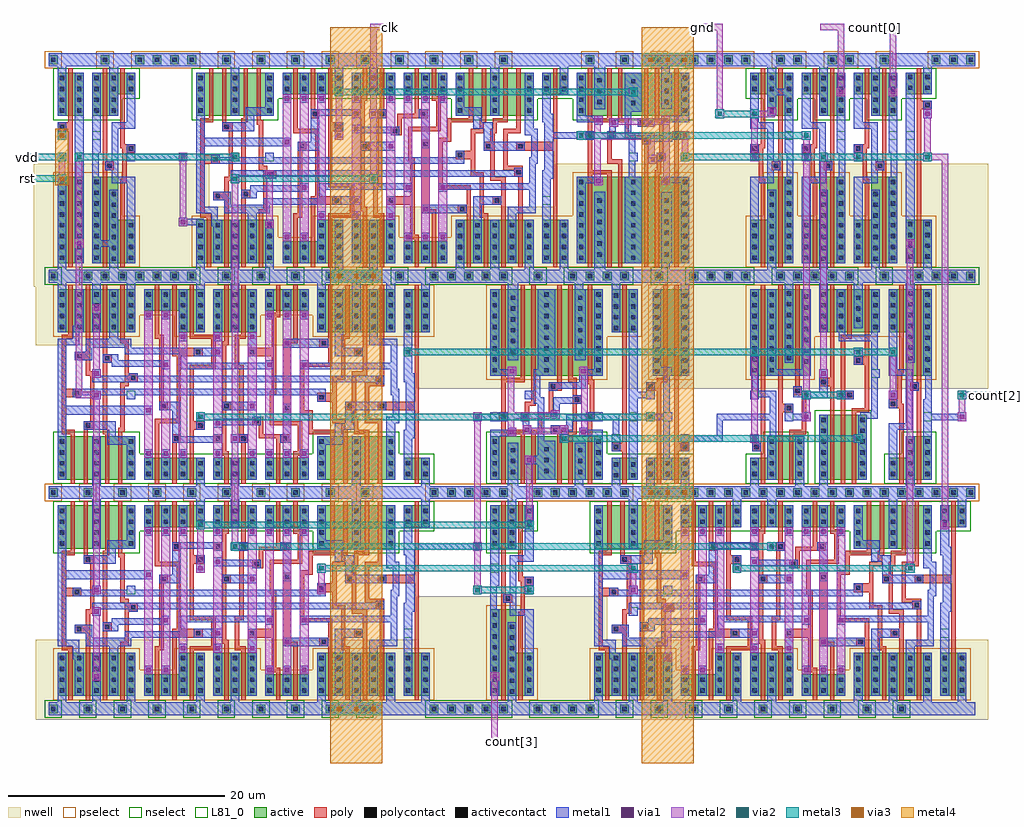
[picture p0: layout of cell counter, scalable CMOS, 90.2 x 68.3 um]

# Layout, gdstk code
from math import pi, radians
import gdstk
lib = gdstk.Library(unit=1e-6, precision=1e-09)
def R(c, l, rs):  # rectangles x0, y0, x1, y1
    for r in rs: c.add(gdstk.rectangle(r[:2], r[2:], *l))
def A(c, l, x, y, w, h, nx, ny, dx, dy):  # array of equal rectangles
    R(c, l, [(x+i*dx, y+j*dy, x+i*dx+w, y+j*dy+h) for i in range(nx) for j in range(ny)])
via3 = (30, 0)
metal4 = (31, 0)
nwell = (42, 0)
active = (43, 0)
pselect = (44, 0)
nselect = (45, 0)
poly = (46, 0)
polycontact = (47, 0)
activecontact = (48, 0)
metal1 = (49, 0)
via1 = (50, 0)
metal2 = (51, 0)
via2 = (61, 0)
metal3 = (62, 0)
L81_0 = (81, 0)

fill = lib.new_cell('FILL')
R(fill, nwell, [(-1.6,9.6,3.2,21)])
R(fill, active, [(-0.4,-0.4,0.4,0.4), (1.2,-0.4,2,0.4), (-0.4,19.6,0.4,20.4), (1.2,19.6,2,20.4)])
R(fill, pselect, [(-0.8,-0.8,2.4,0.8)])
R(fill, nselect, [(-0.8,19.2,2.4,20.8)])
R(fill, activecontact, [(-0.2,-0.2,0.2,0.2), (1.4,-0.2,1.8,0.2), (-0.2,19.8,0.2,20.2), (1.4,19.8,1.8,20.2)])
R(fill, metal1, [(-0.4,-0.6,2,0.6), (-0.4,19.4,2,20.6)])
fill.add(gdstk.Label('vdd', (0.8,20), layer=109, texttype=0))
fill.add(gdstk.Label('gnd', (0.8,0), layer=109, texttype=0))

dffsr = lib.new_cell('DFFSR')
R(dffsr, nwell, [(-1.6,13.6,36.8,21)])
A(dffsr, active, -0.4, -0.4, 0.8, 0.8, 10, 2, 3.2, 20)
R(dffsr, active, [(0.4,1.2,7.6,5.2), (8.4,1.2,14,3.2), (14.8,1.2,18.8,3.2), (19.6,1.2,23.6,3.2), (24.4,1.2,31.6,5.2), (32.4,1.2,34.8,3.2), (0.4,14.8,7.6,18.8), (11.6,14.8,14,16.8), (14.8,14.8,18.8,18.8), (24.4,14.8,31.6,18.8), (32.4,14.8,34.8,18.8), (8.4,16.8,14,18.8), (19.6,16.8,23.6,18.8)])
A(dffsr, pselect, -0.8, -0.8, 1.6, 1.6, 10, 1, 3.2, 0)
R(dffsr, pselect, [(0,14.4,8,16.4), (11.2,14.4,19.2,16.4), (24,14.4,35.2,16.4), (0,16.4,35.2,19.2)])
A(dffsr, nselect, -0.8, 19.2, 1.6, 1.6, 10, 1, 3.2, 0)
R(dffsr, nselect, [(0,0.8,35.2,3.6), (0,3.6,8,5.6), (24,3.6,32,5.6)])
R(dffsr, poly, [(1.6,0.8,2,5.4), (2.8,0.8,3.2,5.8), (4.8,0.8,5.2,5.4), (6,0.8,6.4,5.6), (9.4,0.8,9.8,6.4), (11,0.8,11.4,4.6), (12.6,0.8,13,5.8), (15.8,0.8,16.2,3.4), (17.4,0.8,17.8,4.6), (20.6,0.8,21,4.6), (22.2,0.8,22.6,3.4), (25.6,0.8,26,5.4), (26.8,0.8,27.2,5.4), (28.8,0.8,29.2,5.4), (30,0.8,30.4,6.4), (33.4,0.8,33.8,7.6), (15.6,3.4,16.2,3.8), (22.2,3.4,23,3.8), (15.6,3.8,16,4.6), (22.6,3.8,23,6.2), (11,4.6,11.8,5.4), (14.8,4.6,16,5.4), (17.2,4.6,18,5.4), (20.6,4.6,21.8,5), (19,5,21.8,5.4), (0.8,5.4,2,5.8), (4.6,5.4,5.2,5.8), (15.6,5.4,16,7.6), (17.2,5.4,17.6,11.4), (19,5.4,19.4,6.2), (23.6,5.4,26,5.8), (26.6,5.4,27.2,5.8), (27.8,5.4,29.2,5.8), (6,5.6,6.6,6), (0.8,5.8,1.2,8.8), (2.8,5.8,3.8,6.6), (4.6,5.8,5,12), (12.6,5.8,14,6.6), (23.6,5.8,24,7.2), (26.6,5.8,27,6.4), (27.8,5.8,28.2,6.4), (6.2,6,6.6,9.8), (18.4,6.2,19.4,7), (20,6.2,23,6.6), (9.4,6.4,11.8,6.8), (25.8,6.4,27,6.8), (27.6,6.4,28.2,6.8), (28.8,6.4,30.4,6.8), (3.4,6.6,3.8,10.8), (12.6,6.6,13,11.4), (20,6.6,20.4,9), (11.4,6.8,11.8,12.6), (25.8,6.8,26.2,8.4), (27.6,6.8,28,7.6), (28.8,6.8,29.2,9.8), (22.8,7.2,24,7.6), (21.2,7.4,22,13.8), (9.8,7.6,10.6,8.4), (15.6,7.6,16.4,8.4), (22.8,7.6,23.2,11.6), (27,7.6,28,8.4), (30,7.6,33.8,8.4), (9.8,8.4,10.2,14.2), (15.6,8.4,16,13.6), (24.4,8.4,26.2,9.2), (27.6,8.4,28,10.8), (33.4,8.4,33.8,19.2), (0.8,8.8,2.6,9.6), (20,9,20.6,9.4), (25.8,9.2,26.2,10.4), (20.2,9.4,20.6,12.6), (0.8,9.6,1.2,14.2), (6.2,9.8,7,10.2), (28.8,9.8,30.6,10.2), (6.6,10.2,7.8,11), (29.8,10.2,30.6,10.8), (25.8,10.4,27,10.8), (3,10.8,3.8,11.2), (26.6,10.8,27,14.2), (27.6,10.8,29,11.2), (30.2,10.8,30.6,19.2), (6.6,11,7,13.8), (3,11.2,3.4,12.2), (28.6,11.2,29,12.6), (12.6,11.4,15,11.8), (16.8,11.4,17.6,11.8), (22.8,11.6,25.8,12), (14.6,11.8,15,14.2), (16.8,11.8,17.2,14.2), (4.6,12,5.4,12.8), (25.4,12,25.8,13.4), (2,12.2,3.4,13), (11,12.6,13.8,13.4), (18,12.6,20.6,13.4), (27.8,12.6,29,13.4), (4.6,12.8,5,19.2), (3,13,3.4,19.2), (11,13.4,11.4,19.2), (20.2,13.4,20.6,16.2), (24.6,13.4,25.8,14.2), (28.6,13.4,29,19.2), (15.6,13.6,16.2,14), (6.2,13.8,7,14.2), (21.2,13.8,22.6,14.2), (15.8,14,16.2,19.2), (0.8,14.2,1.8,14.6), (6.2,14.2,6.6,19.2), (9.4,14.2,10.2,14.6), (12.6,14.2,15,14.6), (16.8,14.2,17.8,14.6), (22.2,14.2,22.6,19.2), (25.4,14.2,25.8,19.2), (26.6,14.2,27.4,14.6), (1.4,14.6,1.8,19.2), (9.4,14.6,9.8,19.2), (12.6,14.6,13,19.2), (17.4,14.6,17.8,19.2), (27,14.6,27.4,19.2), (20.2,16.2,21,16.6), (20.6,16.6,21,19.2)])
R(dffsr, polycontact, [(11.2,4.8,11.6,5.2), (15,4.8,15.4,5.2), (17.4,4.8,17.8,5.2), (21.2,4.8,21.6,5.2), (3,6,3.4,6.4), (13.4,6,13.8,6.4), (18.6,6.4,19,6.8), (21.4,7.6,21.8,8), (10,7.8,10.4,8.2), (15.8,7.8,16.2,8.2), (27.2,7.8,27.6,8.2), (30.2,7.8,30.6,8.2), (24.6,8.6,25,9), (2,9,2.4,9.4), (30,10.2,30.4,10.6), (7.2,10.4,7.6,10.8), (4.8,12.2,5.2,12.6), (2.2,12.4,2.6,12.8), (13.2,12.8,13.6,13.2), (18.2,12.8,18.6,13.2), (28,12.8,28.4,13.2), (24.8,13.6,25.2,14)])
A(dffsr, activecontact, -0.2, -0.2, 0.4, 0.4, 10, 2, 3.2, 20)
A(dffsr, activecontact, 0.6, 1.5, 0.4, 0.4, 3, 4, 3.2, 1)
A(dffsr, activecontact, 8.6, 1.5, 0.4, 0.4, 11, 2, 1.6, 1)
A(dffsr, activecontact, 31, 1.5, 0.4, 0.4, 3, 2, 1.6, 1)
A(dffsr, activecontact, 24.6, 3.5, 0.4, 0.4, 3, 2, 3.2, 1)
A(dffsr, activecontact, 0.6, 15.1, 0.4, 0.4, 5, 2, 1.6, 1)
A(dffsr, activecontact, 11.8, 15.1, 0.4, 0.4, 5, 2, 1.6, 1)
A(dffsr, activecontact, 24.6, 15.1, 0.4, 0.4, 7, 2, 1.6, 1)
A(dffsr, activecontact, 0.6, 17.1, 0.4, 0.4, 22, 2, 1.6, 1)
R(dffsr, activecontact, [(27.8,1.5,28.2,1.9), (27.8,2.5,28.2,2.9)])
A(dffsr, metal1, 8.4, 1.2, 0.8, 2.8, 3, 1, 1.6, 0)
A(dffsr, metal1, 18, 1.2, 0.8, 2.8, 4, 1, 1.6, 0)
A(dffsr, metal1, 0.4, 14.8, 0.8, 4.6, 3, 1, 3.2, 0)
A(dffsr, metal1, 24.4, 14.8, 0.8, 4.6, 4, 1, 3.2, 0)
A(dffsr, metal1, 19.6, 16, 0.8, 2.8, 3, 1, 1.6, 0)
R(dffsr, metal1, [(-0.4,-0.6,35.6,0.6), (3.6,0.6,4.4,5.2), (13.2,0.6,14,3.2), (16.4,0.6,17.2,3.2), (27.6,0.6,28.4,5.2), (34,0.6,34.8,3.2), (0.4,1.2,1.2,7.2), (6.8,1.2,7.6,4.4), (14.8,1.2,15.6,4), (24.4,1.2,25.2,4.4), (30.8,1.2,31.6,6.4), (32.4,1.2,33.2,5), (5,4.4,7.6,5.2), (24.4,4.4,26.8,5.2), (11,4.6,15.6,5.2), (16.4,4.6,18,5.4), (21,4.6,22,5.4), (32.4,5,33.4,5.8), (5,5.2,5.8,5.8), (11,5.2,11.8,7.6), (14.8,5.2,15.6,5.4), (26,5.2,26.8,5.8), (21.2,5.4,22,8.2), (2.8,5.8,5.8,6.6), (13.2,5.8,14,7.4), (26,5.8,27.8,6.4), (32.6,5.8,33.4,10.2), (14.8,6,15.6,6.2), (14.8,6.2,19.2,6.8), (27,6.4,27.8,7.6), (30.8,6.4,32,7), (18.4,6.8,19.2,7), (31.4,7,32,9), (0.4,7.2,9.2,8), (9.8,7.6,11.8,8.4), (15.6,7.6,18.8,8.4), (27,7.6,30.8,8.4), (0.4,8,1.2,13.6), (24.4,8.4,25.2,9), (6.8,8.6,7.6,9), (1.8,8.8,2.6,9), (1.8,9,25.2,9.6), (31.2,9,32,9.6), (31.2,9.6,31.8,11.4), (29.8,10,30.6,10.2), (3.6,10.2,30.6,10.8), (32.4,10.2,33.4,11), (3.6,10.8,4.4,11.4), (7,10.8,7.8,11), (32.4,11,33.2,18.8), (10,11.4,10.8,11.6), (11.8,11.4,20.4,12), (22.8,11.4,31.8,12), (5.4,11.6,10.8,12), (4.6,12,10.8,12.2), (11.8,12,12.4,12.8), (19.6,12,20.4,12.2), (22.8,12,23.6,12.2), (31.2,12,31.8,13.6), (2,12.2,3.6,13), (4.6,12.2,6,12.8), (13,12.6,15.6,13.4), (18,12.6,18.8,18.8), (26,12.6,28.6,13.4), (6.6,12.8,12.4,13.4), (3,13,3.6,13.4), (3,13.4,7.2,14.2), (21.2,13.4,25.4,14.2), (26,13.4,26.8,18.8), (0.4,13.6,2.4,14.2), (29.2,13.6,31.8,14.2), (11.6,14,12.4,18.8), (14.8,14,15.6,18.8), (1.8,14.2,2.4,14.8), (5.2,14.2,6,18.8), (29.2,14.2,30,18.8), (1.8,14.8,2.8,15.4), (13.2,14.8,14,19.4), (16.4,14.8,17.2,19.4), (2,15.4,2.8,18.8), (8.4,16,9.2,18.8), (10,16,10.8,18.8), (-0.4,19.4,35.6,20.6)])
A(dffsr, via1, 8.6, 3.4, 0.4, 0.4, 3, 1, 1.6, 0)
A(dffsr, via1, 18.2, 3.4, 0.4, 0.4, 4, 1, 1.6, 0)
A(dffsr, via1, 11.8, 14.2, 0.4, 0.4, 3, 1, 3.2, 0)
A(dffsr, via1, 19.8, 16.2, 0.4, 0.4, 3, 1, 1.6, 0)
R(dffsr, via1, [(15,3.4,15.4,3.8), (15,6.2,15.4,6.6), (8.6,7.4,9,7.8), (18.2,7.8,18.6,8.2), (10.2,11.6,10.6,12), (19.8,11.6,20.2,12), (23,11.6,23.4,12), (15,12.8,15.4,13.2), (21.4,13.6,21.8,14), (8.6,16.2,9,16.6), (10.2,16.2,10.6,16.6)])
A(dffsr, metal2, 11.6, 3.2, 0.8, 11.6, 3, 1, 3.2, 0)
A(dffsr, metal2, 19.6, 3.2, 0.8, 13.6, 3, 1, 1.6, 0)
R(dffsr, metal2, [(8.4,3.2,9.2,16.8), (10,3.2,10.8,16.8)])
R(dffsr, L81_0, [(16.4,4.6,17.2,5.4), (13.2,6.6,14,7.4), (6.8,8.6,7.6,9.4), (3.6,10.6,4.4,11.4), (32.4,12.6,33.2,13.4)])
dffsr.add(gdstk.Label('gnd', (0.8,0), layer=109, texttype=0))
dffsr.add(gdstk.Label('vdd', (0.8,20), layer=109, texttype=0))
dffsr.add(gdstk.Label('D', (13.6,7), layer=109, texttype=0))
dffsr.add(gdstk.Label('S', (4,11), layer=109, texttype=0))
dffsr.add(gdstk.Label('R', (7.2,9), layer=109, texttype=0))
dffsr.add(gdstk.Label('Q', (32.8,13), layer=109, texttype=0))
dffsr.add(gdstk.Label('CLK', (16.8,5), layer=109, texttype=0))

xnor2x1 = lib.new_cell('XNOR2X1')
R(xnor2x1, nwell, [(-1.6,9.6,12.8,21)])
A(xnor2x1, active, -0.4, -0.4, 0.8, 0.8, 4, 2, 3.2, 20)
R(xnor2x1, active, [(0.4,1.2,10.8,5.2), (0.4,10.8,10.8,18.8)])
A(xnor2x1, pselect, -0.8, -0.8, 1.6, 1.6, 4, 1, 3.2, 0)
R(xnor2x1, pselect, [(0,10.4,11.2,19.2)])
A(xnor2x1, nselect, -0.8, 19.2, 1.6, 1.6, 4, 1, 3.2, 0)
R(xnor2x1, nselect, [(0,0.8,11.2,5.6)])
R(xnor2x1, poly, [(1.4,0.8,1.8,6.6), (3.2,0.8,3.6,5.4), (4.2,0.8,4.6,5.4), (6.6,0.8,7,5.4), (7.6,0.8,8,5.4), (9.4,0.8,9.8,5.4), (2.8,5.4,3.6,5.8), (4.2,5.4,5.2,5.8), (6,5.4,7,5.8), (7.6,5.4,9.8,5.8), (2.8,5.8,3.2,8.2), (4.4,5.8,5.2,6.2), (6,5.8,6.4,7), (9.4,5.8,9.8,6.6), (1.2,6.6,2,7.4), (7.2,6.6,8,7.4), (9.2,6.6,10,7.4), (5,7,6.4,7.4), (1.2,7.4,1.6,10), (5,7.4,5.4,9.4), (7.2,7.4,7.6,8), (9.4,7.4,9.8,10.2), (6.6,8,7.6,8.4), (2.4,8.2,3.2,9), (6.6,8.4,7,19.2), (2.8,9,3.2,10.2), (4.2,9.4,5.4,10.2), (1.2,10,1.8,10.4), (2.8,10.2,3.6,10.6), (4.2,10.2,4.6,19.2), (7.6,10.2,9.8,10.6), (1.4,10.4,1.8,19.2), (3.2,10.6,3.6,19.2), (7.6,10.6,8,19.2), (9.4,10.6,9.8,19.2)])
R(xnor2x1, polycontact, [(4.6,5.6,5,6), (1.4,6.8,1.8,7.2), (7.4,6.8,7.8,7.2), (9.4,6.8,9.8,7.2), (2.6,8.4,3,8.8), (4.8,9.6,5.2,10)])
A(xnor2x1, activecontact, -0.2, -0.2, 0.4, 0.4, 4, 2, 3.2, 20)
A(xnor2x1, activecontact, 0.6, 1.5, 0.4, 0.4, 1, 4, 0, 1)
A(xnor2x1, activecontact, 10.2, 1.5, 0.4, 0.4, 1, 4, 0, 1)
A(xnor2x1, activecontact, 2.3, 1.7, 0.4, 0.4, 1, 3, 0, 1)
A(xnor2x1, activecontact, 8.5, 1.7, 0.4, 0.4, 1, 3, 0, 1)
A(xnor2x1, activecontact, 5.4, 1.8, 0.4, 0.4, 1, 3, 0, 1)
A(xnor2x1, activecontact, 0.6, 11.1, 0.4, 0.4, 3, 8, 4.8, 1)
A(xnor2x1, activecontact, 2.3, 12.8, 0.4, 0.4, 1, 6, 0, 1)
A(xnor2x1, activecontact, 8.5, 12.8, 0.4, 0.4, 1, 6, 0, 1)
R(xnor2x1, metal1, [(-0.4,-0.6,11.6,0.6), (2.2,0.6,3,1.2), (8.2,0.6,9.2,4.6), (0.4,1.2,1.2,5.2), (2,1.2,3,4.6), (4.8,1.2,6.4,4.8), (10,1.2,10.8,5.2), (5.8,4.8,6.4,8.2), (0.4,5.2,2.6,5.8), (8.4,5.2,10.8,5.8), (3.6,5.4,5.2,5.6), (7,5.4,7.8,6.2), (3.2,5.6,5.2,6.2), (1.8,5.8,2.6,6), (8.4,5.8,9.2,6), (3.2,6.2,3.8,6.6), (7.2,6.2,7.8,6.6), (0.4,6.6,3.8,7.2), (7.2,6.6,8,7.4), (9.2,6.6,10.8,7.4), (4.4,6.8,5.2,7.6), (0.4,7.2,2,7.4), (4.4,7.6,5,8.2), (2.4,8.2,5,8.8), (5.8,8.2,6.8,8.6), (5.8,8.6,7.6,8.8), (2.4,8.8,3.2,9), (6.2,8.8,7.6,9.4), (4.6,9.4,5.4,9.6), (6.2,9.4,6.8,10.8), (2,9.6,5.4,10.2), (2,10.2,2.6,10.8), (0.4,10.8,2.6,11.4), (4.8,10.8,6.8,11.4), (8.4,10.8,10.8,11.4), (0.4,11.4,1.2,18.8), (1.8,11.4,2.6,11.6), (4.8,11.4,6.4,18.8), (8.4,11.4,9.2,11.6), (10,11.4,10.8,18.8), (2,12.2,3,18.8), (8.2,12.2,9.2,19.4), (2.2,18.8,3,19.4), (-0.4,19.4,11.6,20.6)])
R(xnor2x1, via1, [(2,5.4,2.4,5.8), (8.6,5.4,9,5.8), (3.8,5.6,4.2,6), (7.2,5.6,7.6,6), (4.6,7,5,7.4), (2,11,2.4,11.4), (8.6,11,9,11.4)])
R(xnor2x1, metal2, [(1.8,5.2,2.6,6), (8.4,5.2,9.2,6), (3.6,5.4,7.8,6), (1.8,6,2.4,10.8), (3.6,6,4.4,6.2), (7,6,7.8,6.2), (8.6,6,9.2,6.8), (4.4,6.8,9.2,7.4), (4.4,7.4,5.2,7.6), (8.6,7.4,9.2,10.8), (1.8,10.8,2.6,11.6), (8.4,10.8,9.2,11.6)])
R(xnor2x1, L81_0, [(0.4,6.6,1.2,7.4), (10,6.6,10.8,7.4), (6.8,8.6,7.6,9.4)])
xnor2x1.add(gdstk.Label('A', (0.8,7), layer=109, texttype=0))
xnor2x1.add(gdstk.Label('B', (10.4,7), layer=109, texttype=0))
xnor2x1.add(gdstk.Label('gnd', (0.8,0), layer=109, texttype=0))
xnor2x1.add(gdstk.Label('vdd', (0.8,20), layer=109, texttype=0))
xnor2x1.add(gdstk.Label('Y', (7.2,9), layer=109, texttype=0))

nor2x1 = lib.new_cell('NOR2X1')
R(nor2x1, nwell, [(-1.6,9.6,6.4,21)])
R(nor2x1, active, [(-0.4,-0.4,0.4,0.4), (2.8,-0.4,3.6,0.4), (0.4,1.2,4.4,3.2), (0.4,10.8,3.8,18.8), (-0.4,19.6,0.4,20.4), (2.8,19.6,3.6,20.4)])
R(nor2x1, pselect, [(-0.8,-0.8,0.8,0.8), (2.4,-0.8,4,0.8), (0,10.4,4.2,19.2)])
R(nor2x1, nselect, [(0,0.8,4.8,3.6), (-0.8,19.2,0.8,20.8), (2.4,19.2,4,20.8)])
R(nor2x1, poly, [(1.4,0.8,1.8,3.8), (3,0.8,3.4,9.4), (0.4,3.8,1.8,4.6), (1.4,4.6,1.8,19.2), (3,9.4,4.4,10.2), (2.4,10.2,3.4,10.6), (2.4,10.6,2.8,19.2)])
R(nor2x1, polycontact, [(0.6,4,1,4.4), (3.8,9.6,4.2,10)])
A(nor2x1, activecontact, 0.6, 1.5, 0.4, 0.4, 3, 2, 1.6, 1)
A(nor2x1, activecontact, 0.6, 11, 0.4, 0.4, 1, 8, 0, 1)
A(nor2x1, activecontact, 3.2, 11, 0.4, 0.4, 1, 8, 0, 1)
R(nor2x1, activecontact, [(-0.2,-0.2,0.2,0.2), (3,-0.2,3.4,0.2), (-0.2,19.8,0.2,20.2), (3,19.8,3.4,20.2)])
R(nor2x1, metal1, [(-0.4,-0.6,5.2,0.6), (0.4,0.6,1.2,3.2), (3.6,0.6,4.4,3.2), (2,1.2,2.8,3.2), (2.2,3.2,2.8,6.6), (0.4,3.8,1.2,5.4), (2,6.6,2.8,7.4), (2.2,7.4,2.8,10.8), (3.6,8.6,4.4,10.2), (0.4,10.8,1.2,19.4), (2,10.8,3.8,11.6), (3,11.6,3.8,18.8), (-0.4,19.4,5.2,20.6)])
R(nor2x1, L81_0, [(0.4,4.6,1.2,5.4), (2,6.6,2.8,7.4), (3.6,8.6,4.4,9.4)])
nor2x1.add(gdstk.Label('vdd', (0.8,20), layer=109, texttype=0))
nor2x1.add(gdstk.Label('B', (4,9), layer=109, texttype=0))
nor2x1.add(gdstk.Label('gnd', (0.8,0), layer=109, texttype=0))
nor2x1.add(gdstk.Label('Y', (2.4,7), layer=109, texttype=0))
nor2x1.add(gdstk.Label('A', (0.8,5), layer=109, texttype=0))

bufx2 = lib.new_cell('BUFX2')
R(bufx2, nwell, [(-1,9.6,5.6,21)])
R(bufx2, active, [(-0.4,-0.4,0.4,0.4), (2.8,-0.4,3.6,0.4), (0.4,1.2,4.4,3.2), (2,3.2,4.4,5.2), (2,10.8,4.4,14.8), (0.4,14.8,4.4,18.8), (-0.4,19.6,0.4,20.4), (2.8,19.6,3.6,20.4)])
R(bufx2, pselect, [(-0.8,-0.8,0.8,0.8), (2.4,-0.8,4,0.8), (1.6,10.4,4.8,14.4), (0,14.4,4.8,19.2)])
R(bufx2, nselect, [(0,0.8,4.8,3.6), (1.6,3.6,4.8,5.6), (-0.8,19.2,0.8,20.8), (2.4,19.2,4,20.8)])
R(bufx2, poly, [(1.4,0.8,1.8,7.8), (3,0.8,3.4,9.4), (0.4,7.8,1.8,8.2), (0.4,8.2,1.6,8.6), (1.2,8.6,1.6,11), (2.4,9.4,3.4,10.2), (3,10.2,3.4,19.2), (1.2,11,1.8,11.4), (1.4,11.4,1.8,19.2)])
R(bufx2, polycontact, [(0.6,8,1,8.4), (2.6,9.6,3,10)])
A(bufx2, activecontact, 0.6, 1.5, 0.4, 0.4, 3, 2, 1.6, 1)
A(bufx2, activecontact, 3.8, 11.1, 0.4, 0.4, 1, 8, 0, 1)
A(bufx2, activecontact, 2.2, 12.2, 0.4, 0.4, 1, 7, 0, 1)
A(bufx2, activecontact, 0.6, 15.1, 0.4, 0.4, 1, 4, 0, 1)
R(bufx2, activecontact, [(-0.2,-0.2,0.2,0.2), (3,-0.2,3.4,0.2), (2.2,3.5,2.6,3.9), (3.8,3.5,4.2,3.9), (2.2,4.5,2.6,4.9), (3.8,4.5,4.2,4.9), (-0.2,19.8,0.2,20.2), (3,19.8,3.4,20.2)])
R(bufx2, metal1, [(-0.4,-0.6,5.2,0.6), (2,0.6,2.8,5.2), (0.4,1.2,1.2,5.8), (3.6,1.2,4.4,8.6), (0.4,5.8,2.6,6.4), (2,6.4,2.6,9.4), (0.4,7.8,1.2,9.4), (3.8,8.6,4.4,10.8), (2,9.4,3.2,10.2), (2,10.2,2.6,10.8), (0.4,10.8,2.6,11.4), (3.6,10.8,4.4,18.8), (0.4,11.4,1.2,18.8), (2,12,2.8,19.4), (-0.4,19.4,5.2,20.6)])
R(bufx2, L81_0, [(3.6,6.6,4.4,7.4), (0.4,8.6,1.2,9.4)])
bufx2.add(gdstk.Label('vdd', (0.8,20), layer=109, texttype=0))
bufx2.add(gdstk.Label('gnd', (0.8,0), layer=109, texttype=0))
bufx2.add(gdstk.Label('A', (0.8,9), layer=109, texttype=0))
bufx2.add(gdstk.Label('Y', (4,7), layer=109, texttype=0))

invx1 = lib.new_cell('INVX1')
R(invx1, nwell, [(-1.8,9.6,5.2,21)])
R(invx1, active, [(-0.4,-0.4,0.4,0.4), (0.4,1.2,2.8,3.2), (0.4,14.8,2.8,18.8), (-0.4,19.6,0.4,20.4)])
R(invx1, pselect, [(-0.8,-0.8,0.8,0.8), (0,14.4,3.2,19.2)])
R(invx1, nselect, [(0,0.8,3.2,3.6), (-0.8,19.2,0.8,20.8)])
R(invx1, poly, [(1.4,0.8,1.8,3.8), (0.4,3.8,1.8,4.6), (1.4,4.6,1.8,19.2)])
R(invx1, polycontact, [(0.6,4,1,4.4)])
A(invx1, activecontact, 0.6, 15, 0.4, 0.4, 1, 4, 0, 1)
A(invx1, activecontact, 2.2, 15, 0.4, 0.4, 1, 4, 0, 1)
R(invx1, activecontact, [(-0.2,-0.2,0.2,0.2), (0.6,1.4,1,1.8), (2.2,1.4,2.6,1.8), (0.6,2.4,1,2.8), (2.2,2.4,2.6,2.8), (-0.2,19.8,0.2,20.2)])
R(invx1, metal1, [(-0.4,-0.6,3.6,0.6), (0.4,0.6,1.2,3.2), (2,1.2,2.8,18.8), (0.4,3.8,1.2,5.4), (0.4,14.8,1.2,19.4), (-0.4,19.4,3.6,20.6)])
R(invx1, L81_0, [(0.4,4.6,1.2,5.4), (2,6.6,2.8,7.4)])
invx1.add(gdstk.Label('A', (0.8,5), layer=109, texttype=0))
invx1.add(gdstk.Label('Y', (2.4,7), layer=109, texttype=0))
invx1.add(gdstk.Label('vdd', (0.8,20), layer=109, texttype=0))
invx1.add(gdstk.Label('gnd', (0.8,0), layer=109, texttype=0))

nand3x1 = lib.new_cell('NAND3X1')
R(nand3x1, nwell, [(-1.6,9.6,8,21)])
R(nand3x1, active, [(-0.4,-0.4,0.4,0.4), (2.8,-0.4,3.6,0.4), (0.4,1.2,4.8,7.2), (0.4,14.8,6,18.8), (-0.4,19.6,0.4,20.4), (2.8,19.6,3.6,20.4)])
R(nand3x1, pselect, [(-0.8,-0.8,0.8,0.8), (2.4,-0.8,4,0.8), (0,14.4,6.4,19.2)])
R(nand3x1, nselect, [(0,0.8,5.2,7.6), (-0.8,19.2,0.8,20.8), (2.4,19.2,4,20.8)])
R(nand3x1, poly, [(1.4,0.8,1.8,9.8), (2.4,0.8,2.8,8.6), (3.4,0.8,3.8,7.4), (3.4,7.4,5,7.8), (4.6,7.8,5,11.8), (2.4,8.6,3.6,9.4), (2.4,9.4,2.8,14.2), (0.4,9.8,1.8,10.6), (1.4,10.6,1.8,19.2), (3.6,11.8,5,12.6), (4.6,12.6,5,19.2), (2.4,14.2,3.4,14.6), (3,14.6,3.4,19.2)])
R(nand3x1, polycontact, [(3,8.8,3.4,9.2), (0.6,10,1,10.4), (3.8,12,4.2,12.4)])
A(nand3x1, activecontact, 0.6, 1.5, 0.4, 0.4, 1, 6, 0, 1)
A(nand3x1, activecontact, 4.2, 1.5, 0.4, 0.4, 1, 6, 0, 1)
A(nand3x1, activecontact, 0.6, 15.1, 0.4, 0.4, 1, 4, 0, 1)
A(nand3x1, activecontact, 2.2, 15.1, 0.4, 0.4, 1, 4, 0, 1)
A(nand3x1, activecontact, 5.4, 15.1, 0.4, 0.4, 1, 4, 0, 1)
A(nand3x1, activecontact, 3.8, 15.8, 0.4, 0.4, 1, 3, 0, 1)
R(nand3x1, activecontact, [(-0.2,-0.2,0.2,0.2), (3,-0.2,3.4,0.2), (-0.2,19.8,0.2,20.2), (3,19.8,3.4,20.2)])
R(nand3x1, metal1, [(-0.4,-0.6,6.8,0.6), (0.4,0.6,1.2,7.2), (4,1.2,4.8,6.8), (4,6.8,5.8,7.2), (4.2,7.2,5.8,7.4), (5.2,7.4,5.8,10.6), (2,8.6,3.6,9.4), (0.4,9.8,1.2,11.4), (5.2,10.6,6,11.4), (5.2,11.4,5.8,14), (3.6,11.8,4.4,13.4), (2.2,14,5.8,14.6), (2.2,14.6,2.8,14.8), (5.2,14.6,5.8,14.8), (0.4,14.8,1.2,19.4), (2,14.8,2.8,18.8), (5.2,14.8,6,18.8), (3.6,15.2,4.4,19.4), (-0.4,19.4,6.8,20.6)])
R(nand3x1, L81_0, [(2,8.6,2.8,9.4), (0.4,10.6,1.2,11.4), (5.2,10.6,6,11.4), (3.6,12.6,4.4,13.4)])
nand3x1.add(gdstk.Label('B', (2.4,9), layer=109, texttype=0))
nand3x1.add(gdstk.Label('vdd', (0.8,20), layer=109, texttype=0))
nand3x1.add(gdstk.Label('gnd', (0.8,0), layer=109, texttype=0))
nand3x1.add(gdstk.Label('A', (0.8,11), layer=109, texttype=0))
nand3x1.add(gdstk.Label('C', (4,13), layer=109, texttype=0))
nand3x1.add(gdstk.Label('Y', (5.6,11), layer=109, texttype=0))

aoi21x1 = lib.new_cell('AOI21X1')
R(aoi21x1, nwell, [(-1.4,9.6,7.8,21)])
R(aoi21x1, active, [(-0.4,-0.4,0.4,0.4), (2.8,-0.4,3.6,0.4), (1,1.2,6,3.2), (1,3.2,4.4,5.2), (0.4,10.8,6,18.8), (-0.4,19.6,0.4,20.4), (2.8,19.6,3.6,20.4)])
R(aoi21x1, pselect, [(-0.8,-0.8,0.8,0.8), (2.4,-0.8,4,0.8), (0,10.4,6.4,19.2)])
R(aoi21x1, nselect, [(0.6,0.8,6.4,3.6), (0.6,3.6,4.8,5.6), (-0.8,19.2,0.8,20.8), (2.4,19.2,4,20.8)])
R(aoi21x1, poly, [(2,0.8,2.4,5.4), (3,0.8,3.4,7.4), (4.6,0.8,5,3.8), (4.6,3.8,5.8,4.6), (4.6,4.6,5,19.2), (0.8,5.4,2.4,5.8), (0.8,5.8,1.2,9), (2,7.4,3.4,8.2), (3,8.2,3.4,19.2), (0.8,9,2,9.4), (1.2,9.4,2,9.8), (1.4,9.8,1.8,19.2)])
R(aoi21x1, polycontact, [(5.2,4,5.6,4.4), (2.2,7.6,2.6,8), (1.4,9.2,1.8,9.6)])
A(aoi21x1, activecontact, 1.2, 1.5, 0.4, 0.4, 1, 4, 0, 1)
A(aoi21x1, activecontact, 3.8, 1.5, 0.4, 0.4, 1, 4, 0, 1)
A(aoi21x1, activecontact, 3.8, 11.1, 0.4, 0.4, 1, 8, 0, 1)
A(aoi21x1, activecontact, 5.4, 11.1, 0.4, 0.4, 1, 8, 0, 1)
A(aoi21x1, activecontact, 0.6, 11.9, 0.4, 0.4, 1, 7, 0, 1)
A(aoi21x1, activecontact, 2.2, 12.2, 0.4, 0.4, 1, 7, 0, 1)
R(aoi21x1, activecontact, [(-0.2,-0.2,0.2,0.2), (3,-0.2,3.4,0.2), (5.4,1.5,5.8,1.9), (5.4,2.5,5.8,2.9), (-0.2,19.8,0.2,20.2), (3,19.8,3.4,20.2)])
R(aoi21x1, metal1, [(-0.4,-0.6,6.8,0.6), (1,0.6,1.8,5.2), (5.2,0.6,6,3.2), (3.6,1.2,4.4,5.2), (5,3.8,5.8,4.6), (5.2,4.6,6,5.4), (3.6,5.2,4.2,8.8), (2,6.6,2.8,8.2), (0.4,8.6,1.2,8.8), (5.2,8.6,6,8.8), (0.4,8.8,2,9.4), (3.6,8.8,6,9.4), (1.2,9.4,2,9.8), (5.2,9.4,5.8,10.8), (0.4,10.8,4.4,11.4), (5.2,10.8,6,18.8), (0.4,11.4,1.2,18.8), (3.6,11.4,4.4,18.8), (2,12,2.8,19.4), (-0.4,19.4,6.8,20.6)])
R(aoi21x1, L81_0, [(5.2,4.6,6,5.4), (2,6.6,2.8,7.4), (0.4,8.6,1.2,9.4), (5.2,8.6,6,9.4)])
aoi21x1.add(gdstk.Label('gnd', (0.8,0), layer=109, texttype=0))
aoi21x1.add(gdstk.Label('vdd', (0.8,20), layer=109, texttype=0))
aoi21x1.add(gdstk.Label('A', (0.8,9), layer=109, texttype=0))
aoi21x1.add(gdstk.Label('B', (2.4,7), layer=109, texttype=0))
aoi21x1.add(gdstk.Label('Y', (5.6,9), layer=109, texttype=0))
aoi21x1.add(gdstk.Label('C', (5.6,5), layer=109, texttype=0))

invx2 = lib.new_cell('INVX2')
R(invx2, nwell, [(-1.8,9.6,5.2,21)])
R(invx2, active, [(-0.4,-0.4,0.4,0.4), (0.4,1.2,2.8,5.2), (0.4,10.8,2.8,18.8), (-0.4,19.6,0.4,20.4)])
R(invx2, pselect, [(-0.8,-0.8,0.8,0.8), (0,10.4,3.2,19.2)])
R(invx2, nselect, [(0,0.8,3.2,5.6), (-0.8,19.2,0.8,20.8)])
R(invx2, poly, [(1.4,0.8,1.8,5.8), (0.4,5.8,1.8,6.6), (1.4,6.6,1.8,19.2)])
R(invx2, polycontact, [(0.6,6,1,6.4)])
A(invx2, activecontact, 0.6, 1.5, 0.4, 0.4, 1, 4, 0, 1)
A(invx2, activecontact, 2.2, 1.5, 0.4, 0.4, 1, 4, 0, 1)
A(invx2, activecontact, 0.6, 11.1, 0.4, 0.4, 1, 8, 0, 1)
A(invx2, activecontact, 2.2, 11.1, 0.4, 0.4, 1, 8, 0, 1)
R(invx2, activecontact, [(-0.2,-0.2,0.2,0.2), (-0.2,19.8,0.2,20.2)])
R(invx2, metal1, [(-0.4,-0.6,3.6,0.6), (0.4,0.6,1.2,5.2), (2,1.2,2.8,18.8), (0.4,5.8,1.2,7.4), (0.4,10.8,1.2,19.4), (-0.4,19.4,3.6,20.6)])
R(invx2, L81_0, [(0.4,6.6,1.2,7.4), (2,8.6,2.8,9.4)])
invx2.add(gdstk.Label('vdd', (0.8,20), layer=109, texttype=0))
invx2.add(gdstk.Label('gnd', (0.8,0), layer=109, texttype=0))
invx2.add(gdstk.Label('Y', (2.4,9), layer=109, texttype=0))
invx2.add(gdstk.Label('A', (0.8,7), layer=109, texttype=0))

xor2x1 = lib.new_cell('XOR2X1')
R(xor2x1, nwell, [(-1.6,9.6,12.8,21)])
A(xor2x1, active, -0.4, -0.4, 0.8, 0.8, 4, 2, 3.2, 20)
R(xor2x1, active, [(0.4,1.2,10.8,5.2), (0.4,10.8,10.8,18.8)])
A(xor2x1, pselect, -0.8, -0.8, 1.6, 1.6, 4, 1, 3.2, 0)
R(xor2x1, pselect, [(0,10.4,11.2,19.2)])
A(xor2x1, nselect, -0.8, 19.2, 1.6, 1.6, 4, 1, 3.2, 0)
R(xor2x1, nselect, [(0,0.8,11.2,5.6)])
R(xor2x1, poly, [(1.4,0.8,1.8,6.6), (3.2,0.8,3.6,5.4), (4.2,0.8,4.6,5.4), (6.6,0.8,7,5.4), (7.6,0.8,8,5.4), (9.4,0.8,9.8,5.4), (2.8,5.4,3.6,5.8), (4.2,5.4,5.2,6.2), (6,5.4,7,5.8), (7.6,5.4,9.8,5.8), (2.8,5.8,3.2,8.6), (6,5.8,6.4,7), (9.4,5.8,9.8,6.6), (1.2,6.6,2,7.4), (7.2,6.6,8,7.4), (9.2,6.6,10,7.4), (4,7,6.4,7.4), (1.4,7.4,1.8,19.2), (4,7.4,4.8,7.8), (7.6,7.4,8,9.2), (9.4,7.4,9.8,10.2), (4.2,7.8,4.6,19.2), (2.6,8.6,3.4,9.4), (6.6,9.2,8,9.6), (3,9.4,3.4,10.2), (6.6,9.6,7,19.2), (3,10.2,3.6,10.6), (7.6,10.2,9.8,10.6), (3.2,10.6,3.6,19.2), (7.6,10.6,8,19.2), (9.4,10.6,9.8,19.2)])
R(xor2x1, polycontact, [(4.6,5.6,5,6), (1.4,6.8,1.8,7.2), (7.4,6.8,7.8,7.2), (9.4,6.8,9.8,7.2), (4.2,7.2,4.6,7.6), (2.8,8.8,3.2,9.2)])
A(xor2x1, activecontact, -0.2, -0.2, 0.4, 0.4, 4, 2, 3.2, 20)
A(xor2x1, activecontact, 0.6, 1.5, 0.4, 0.4, 1, 4, 0, 1)
A(xor2x1, activecontact, 10.2, 1.5, 0.4, 0.4, 1, 4, 0, 1)
A(xor2x1, activecontact, 2.3, 1.7, 0.4, 0.4, 1, 3, 0, 1)
A(xor2x1, activecontact, 8.5, 1.7, 0.4, 0.4, 1, 3, 0, 1)
A(xor2x1, activecontact, 5.4, 1.8, 0.4, 0.4, 1, 3, 0, 1)
A(xor2x1, activecontact, 0.6, 11.1, 0.4, 0.4, 3, 8, 4.8, 1)
A(xor2x1, activecontact, 2.3, 12.8, 0.4, 0.4, 1, 6, 0, 1)
A(xor2x1, activecontact, 8.5, 12.8, 0.4, 0.4, 1, 6, 0, 1)
R(xor2x1, metal1, [(-0.4,-0.6,11.6,0.6), (2.2,0.6,3,1.2), (8.2,0.6,9.2,4.6), (0.4,1.2,1.2,5.2), (2,1.2,3,4.6), (4.8,1.2,6.4,4.8), (10,1.2,10.8,5.2), (5.8,4.8,6.4,6.8), (0.4,5.2,3,5.8), (8.4,5.2,10.8,5.8), (3.6,5.4,5.2,6.2), (7,5.4,7.8,6.2), (2.2,5.8,3,6), (8.4,5.8,9.2,6), (7.2,6.2,7.8,6.6), (0.4,6.6,2,6.8), (7.2,6.6,8,7.4), (9.2,6.6,10.8,7.4), (0.4,6.8,2.6,7), (5.4,6.8,6.4,7.4), (0.4,7,4.8,7.4), (2,7.4,4.8,7.6), (5.4,7.4,6,8.6), (4,7.6,4.8,7.8), (2.6,8.6,3.4,8.8), (5.2,8.6,6,9.4), (2.6,8.8,4.2,9.4), (3.4,9.4,4.2,9.6), (5.4,9.4,6,10.8), (0.4,10.8,3,11.4), (4.8,10.8,6.4,18.8), (8.4,10.8,10.8,11.4), (0.4,11.4,1.2,18.8), (2.2,11.4,3,11.6), (8.4,11.4,9.2,11.6), (10,11.4,10.8,18.8), (2,12.2,3,18.8), (8.2,12.2,9.2,19.4), (2.2,18.8,3,19.4), (-0.4,19.4,11.6,20.6)])
R(xor2x1, via1, [(2.4,5.4,2.8,5.8), (8.6,5.4,9,5.8), (3.8,5.6,4.2,6), (7.2,5.6,7.6,6), (3.6,9,4,9.4), (2.4,11,2.8,11.4), (8.6,11,9,11.4)])
R(xor2x1, metal2, [(2.2,5.2,3,5.4), (8.4,5.2,9.2,6), (2.2,5.4,7.8,6), (2.2,6,2.8,10.8), (3.6,6,4.4,6.2), (7,6,7.8,6.2), (8.6,6,9.2,6.8), (3.6,6.8,9.2,7.4), (3.6,7.4,4.2,8.8), (8.6,7.4,9.2,10.8), (3.4,8.8,4.2,9.6), (2.2,10.8,3,11.6), (8.4,10.8,9.2,11.6)])
R(xor2x1, L81_0, [(0.4,6.6,1.2,7.4), (10,6.6,10.8,7.4), (5.2,8.6,6,9.4)])
xor2x1.add(gdstk.Label('Y', (5.6,9), layer=109, texttype=0))
xor2x1.add(gdstk.Label('vdd', (0.8,20), layer=109, texttype=0))
xor2x1.add(gdstk.Label('B', (10.4,7), layer=109, texttype=0))
xor2x1.add(gdstk.Label('A', (0.8,7), layer=109, texttype=0))
xor2x1.add(gdstk.Label('gnd', (0.8,0), layer=109, texttype=0))

counter = lib.new_cell('counter')
A(counter, via3, 27, 0.8, 0.4, 0.4, 3, 2, 1.6, 40)
A(counter, via3, 55.8, 20.8, 0.4, 0.4, 3, 2, 1.6, 40)
R(counter, via3, [(1.4,49.8,1.8,50.2), (1.4,53.8,1.8,54.2)])
R(counter, metal4, [(26.4,-4,31.2,64), (55.2,-4,60,64), (1,49.4,2.2,54.6)])
A(counter, metal1, 55.6, 27.6, 0.8, 0.1, 3, 2, 14.4, 0.7)
A(counter, metal1, 65.2, 51.6, 0.8, 0.8, 3, 1, 4.8, 0)
R(counter, metal1, [(26.4,0.6,31.2,1.4), (4.4,3.6,5.2,4.4), (41.2,3.6,42,4.4), (57.2,5.4,58,6.2), (4.4,9.6,5.2,10.4), (57.2,10,58,10.8), (4.4,11.6,5.2,12.4), (25.2,11.6,26,12.4), (44.4,11.6,45.2,12.4), (54,11.6,54.8,12.4), (14,13.6,14.8,14.4), (63.6,13.6,64.4,14.4), (17.2,15.6,18,16.4), (39.6,15.6,40.4,15.7), (66.8,15.6,67.6,16.4), (33.3,15.7,40.4,16.3), (39.6,16.3,40.4,16.4), (82.8,17.6,83.6,18.4), (55.2,20.6,60,21.4), (44.4,23.6,45.6,24.4), (17.2,25.6,18,26.4), (65.2,25.6,66,26.4), (74.8,25.6,75.6,26.4), (52.5,25.7,53.1,27.7), (58.9,25.7,62.7,26.3), (62.1,26.3,62.7,27.7), (14,27.6,14.8,28.4), (39.6,27.6,40.4,27.7), (39.6,27.7,41.9,28.3), (50.9,27.7,53.1,28.3), (55.6,27.7,57.9,28.3), (62.1,27.7,67.5,28.3), (68.5,27.7,70.8,28.3), (81.3,27.7,85.2,28.3), (39.6,28.3,40.4,28.4), (4.4,29.6,5.2,30.4), (73.2,29.6,74,30.4), (78,29.6,78.8,30.4), (54.1,29.7,56.3,30.3), (70.1,29.7,72.4,30.3), (71.6,30.3,72.4,30.8), (4.4,31.6,5.2,32.4), (71.6,31.6,72.4,32.4), (33.2,33.6,34,34.4), (74.8,33.6,75.6,34.4), (4.4,37.6,5.2,38.4), (26.4,40.6,31.2,41.4), (2.8,43.6,3.6,44.4), (79.6,43.6,80.4,44.4), (4.5,43.7,6.7,44.3), (20.4,45.4,21.2,46.2), (12.4,45.6,13.2,45.7), (12.4,45.7,14.7,46.3), (12.4,46.3,13.2,46.4), (1.2,49.6,2,50.4), (20.4,50,21.2,50.8), (12.4,51.6,13.2,51.7), (17.2,51.6,18,52.4), (7.7,51.7,13.2,52.3), (12.4,52.3,13.2,52.4), (1.2,53.6,2,54.4), (26.8,53.6,27.6,54.4), (49.2,53.6,50,53.7), (58.8,53.6,59.6,54.4), (46.2,53.7,50,54.3), (49.2,54.3,50,54.4), (30,55.6,30.8,56.4), (81.2,55.6,82,56.4), (66.8,55.8,67.6,56.6), (54,57.6,54.8,58.4), (73.2,57.6,74,58.4), (78,57.6,78.8,58.4), (66.9,57.7,69.1,58.3), (55.2,60.6,60,61.4)])
A(counter, via1, 27.2, 0.8, 0.4, 0.4, 3, 2, 1.4, 40)
A(counter, via1, 56, 20.8, 0.4, 0.4, 3, 2, 1.4, 40)
A(counter, via1, 55.8, 27.8, 0.4, 0.4, 3, 1, 14.4, 0)
A(counter, via1, 65.4, 51.8, 0.4, 0.4, 3, 1, 4.8, 0)
R(counter, via1, [(4.6,3.8,5,4.2), (41.4,3.8,41.8,4.2), (57.4,5.6,57.8,6), (4.6,9.8,5,10.2), (57.4,10.2,57.8,10.6), (4.6,11.8,5,12.2), (25.4,11.8,25.8,12.2), (44.6,11.8,45,12.2), (54.2,11.8,54.6,12.2), (14.2,13.8,14.6,14.2), (63.8,13.8,64.2,14.2), (17.4,15.8,17.8,16.2), (39.8,15.8,40.2,16.2), (67,15.8,67.4,16.2), (83,17.8,83.4,18.2), (44.6,23.8,45,24.2), (17.4,25.8,17.8,26.2), (65.4,25.8,65.8,26.2), (75,25.8,75.4,26.2), (14.2,27.8,14.6,28.2), (39.8,27.8,40.2,28.2), (4.6,29.8,5,30.2), (73.4,29.8,73.8,30.2), (78.2,29.8,78.6,30.2), (4.6,31.8,5,32.2), (71.8,31.8,72.2,32.2), (33.4,33.8,33.8,34.2), (75,33.8,75.4,34.2), (4.6,37.8,5,38.2), (3,43.8,3.4,44.2), (79.8,43.8,80.2,44.2), (20.6,45.6,21,46), (12.6,45.8,13,46.2), (1.4,49.8,1.8,50.2), (20.6,50.2,21,50.6), (12.6,51.8,13,52.2), (17.4,51.8,17.8,52.2), (1.4,53.8,1.8,54.2), (27,53.8,27.4,54.2), (49.4,53.8,49.8,54.2), (59,53.8,59.4,54.2), (30.2,55.8,30.6,56.2), (81.4,55.8,81.8,56.2), (67,56,67.4,56.4), (54.2,57.8,54.6,58.2), (73.4,57.8,73.8,58.2), (78.2,57.8,78.6,58.2)])
A(counter, metal2, 44.4, 11.6, 0.8, 0.8, 1, 3, 0, 6)
A(counter, metal2, 55.6, 27.6, 0.8, 0.8, 3, 1, 14.4, 0)
A(counter, metal2, 1.2, 49.6, 0.8, 0.8, 1, 3, 0, 2)
R(counter, metal2, [(41.3,-2.3,43.5,-1.7), (41.3,-1.7,41.9,3.6), (26.4,0.6,31.2,1.4), (4.4,3.6,5.2,4.4), (41.2,3.6,42,4.4), (4.5,4.4,5.1,9.6), (57.2,5.4,58,6.2), (57.3,6.2,57.9,10), (4.4,9.6,5.2,10.4), (57.2,10,58,10.8), (4.4,11.6,5.2,12.4), (25.2,11.6,26,12.4), (39.6,11.6,40.4,12.4), (54,11.6,54.8,12.4), (4.5,12.4,5.1,29.6), (25.3,12.4,25.9,13.6), (39.7,12.4,40.3,15.6), (54.1,12.4,54.7,13.6), (14,13.6,14.8,14.4), (25.2,13.6,26,14.4), (54,13.6,54.8,14.4), (63.6,13.6,64.4,14.4), (79.6,13.6,80.4,14.4), (14.1,14.4,14.7,17.6), (79.7,14.4,80.3,43.6), (17.2,15.6,18,16.4), (39.6,15.6,40.4,16.4), (66.8,15.6,67.6,16.4), (17.3,16.4,17.9,25.6), (39.7,16.4,40.3,27.6), (14,17.6,14.8,18.4), (82.8,17.6,83.6,18.4), (44.5,18.4,45.1,23.6), (82.9,18.4,83.5,51.7), (55.2,20.6,60,21.4), (17.2,25.6,18,26.4), (47.6,25.6,48.4,26.4), (65.2,25.6,66,26.4), (74.8,25.6,75.6,26.4), (17.3,26.4,17.9,49.6), (65.3,26.4,65.9,33.6), (14,27.6,14.8,28.4), (39.6,27.6,40.4,28.4), (70.1,28.4,70.7,29.6), (84.5,28.4,85.1,29.6), (4.4,29.6,5.2,29.7), (70,29.6,70.8,30.4), (73.2,29.6,74,30.4), (78,29.6,78.8,30.4), (84.4,29.6,85.2,30.4), (2.9,29.7,5.2,30.3), (2.9,30.3,3.5,43.6), (4.4,30.3,5.2,30.4), (70.1,30.4,70.7,51.6), (78.1,30.4,78.7,33.6), (4.4,31.6,5.2,32.4), (71.6,31.6,72.4,32.4), (4.5,32.4,5.1,37.6), (71.7,32.4,72.3,51.6), (33.2,33.6,34,34.4), (65.2,33.6,66,34.4), (74.8,33.6,75.6,34.4), (78,33.6,78.8,34.4), (4.4,37.6,5.2,38.4), (26.4,40.6,31.2,41.4), (2.8,43.6,3.6,44.4), (79.6,43.6,80.4,44.4), (2.9,44.4,3.5,51.6), (20.4,45.4,21.2,46.2), (12.4,45.6,13.2,46.4), (20.5,46.2,21.1,50), (12.5,46.4,13.1,51.6), (17.2,49.6,18,50.4), (30,49.6,30.8,50.4), (20.4,50,21.2,50.8), (1.3,50.4,1.9,51.6), (30.1,50.4,30.7,55.6), (2.8,51.6,3.6,52.4), (12.4,51.6,13.2,52.4), (17.2,51.6,18,52.4), (58.8,51.6,59.6,52.4), (65.2,51.6,66,52.4), (70,51.6,70.8,52.4), (71.6,51.6,72.4,52.4), (74.8,51.6,75.6,52.4), (81.2,51.6,82,51.7), (81.2,51.7,83.5,52.3), (81.2,52.3,82,52.4), (58.9,52.4,59.5,53.6), (65.3,52.4,65.9,55.6), (70.1,52.4,70.7,53.6), (81.3,52.4,81.9,55.6), (26.8,53.6,27.6,54.4), (49.2,53.6,50,54.4), (58.8,53.6,59.6,54.4), (70,53.6,70.8,54.4), (26.9,54.4,27.5,57.6), (30,55.6,30.8,56.4), (62,55.6,62.8,56.4), (65.2,55.6,66,55.7), (81.2,55.6,82,56.4), (65.2,55.7,67.5,55.8), (65.2,55.8,67.6,56.3), (65.2,56.3,66,56.4), (66.8,56.3,67.6,56.6), (30.1,56.4,30.7,63.7), (62.1,56.4,62.7,63.7), (26.8,57.6,27.6,58.4), (54,57.6,54.8,58.4), (73.2,57.6,74,58.4), (78,57.6,78.8,58.4), (73.3,58.4,73.9,63.7), (78.1,58.4,78.7,63.7), (55.2,60.6,60,61.4), (30.1,63.7,32.3,64.3), (60.5,63.7,62.7,64.3), (71.7,63.7,73.9,64.3), (76.5,63.7,78.7,64.3)])
A(counter, via2, 27.2, 0.8, 0.4, 0.4, 3, 2, 1.4, 40)
A(counter, via2, 56, 20.8, 0.4, 0.4, 3, 2, 1.4, 40)
R(counter, via2, [(39.8,11.8,40.2,12.2), (44.6,11.8,45,12.2), (25.4,13.8,25.8,14.2), (54.2,13.8,54.6,14.2), (63.8,13.8,64.2,14.2), (79.8,13.8,80.2,14.2), (17.4,15.8,17.8,16.2), (67,15.8,67.4,16.2), (14.2,17.8,14.6,18.2), (44.6,17.8,45,18.2), (47.8,25.8,48.2,26.2), (75,25.8,75.4,26.2), (14.2,27.8,14.6,28.2), (55.8,27.8,56.2,28.2), (70.2,29.8,70.6,30.2), (73.4,29.8,73.8,30.2), (84.6,29.8,85,30.2), (33.4,33.8,33.8,34.2), (65.4,33.8,65.8,34.2), (75,33.8,75.4,34.2), (78.2,33.8,78.6,34.2), (17.4,49.8,17.8,50.2), (30.2,49.8,30.6,50.2), (1.4,51.8,1.8,52.2), (3,51.8,3.4,52.2), (17.4,51.8,17.8,52.2), (59,51.8,59.4,52.2), (71.8,51.8,72.2,52.2), (75,51.8,75.4,52.2), (81.4,51.8,81.8,52.2), (1.4,53.8,1.8,54.2), (49.4,53.8,49.8,54.2), (70.2,53.8,70.6,54.2), (62.2,55.8,62.6,56.2), (65.4,55.8,65.8,56.2), (27,57.8,27.4,58.2), (54.2,57.8,54.6,58.2)])
R(counter, metal3, [(26.4,0.4,31.2,1.6), (39.6,11.6,40.4,11.7), (44.4,11.6,45.2,11.7), (39.6,11.7,45.2,12.3), (39.6,12.3,40.4,12.4), (44.4,12.3,45.2,12.4), (25.2,13.6,26,13.7), (54,13.6,54.8,13.7), (63.6,13.6,64.4,13.7), (79.6,13.6,80.4,13.7), (25.2,13.7,54.8,14.3), (63.6,13.7,80.4,14.3), (25.2,14.3,26,14.4), (54,14.3,54.8,14.4), (63.6,14.3,64.4,14.4), (79.6,14.3,80.4,14.4), (17.2,15.6,18,15.7), (66.8,15.6,67.6,15.7), (17.2,15.7,67.6,16.3), (17.2,16.3,18,16.4), (66.8,16.3,67.6,16.4), (14,17.6,14.8,17.7), (44.4,17.6,45.2,17.7), (14,17.7,45.2,18.3), (14,18.3,14.8,18.4), (44.4,18.3,45.2,18.4), (55.2,20.4,60,21.6), (47.6,25.6,48.4,25.7), (74.8,25.6,75.6,25.7), (47.6,25.7,75.6,26.3), (47.6,26.3,48.4,26.4), (74.8,26.3,75.6,26.4), (14,27.6,14.8,27.7), (55.6,27.6,56.4,27.7), (14,27.7,56.4,28.3), (14,28.3,14.8,28.4), (55.6,28.3,56.4,28.4), (70,29.6,70.8,29.7), (73.2,29.6,74,29.7), (84.4,29.6,85.2,29.7), (70,29.7,74,30.3), (84.4,29.7,88.3,30.3), (70,30.3,70.8,30.4), (73.2,30.3,74,30.4), (84.4,30.3,85.2,30.4), (33.2,33.6,34,33.7), (65.2,33.6,66,33.7), (74.8,33.6,75.6,33.7), (78,33.6,78.8,33.7), (33.2,33.7,78.8,34.3), (33.2,34.3,34,34.4), (65.2,34.3,66,34.4), (74.8,34.3,75.6,34.4), (78,34.3,78.8,34.4), (26.4,40.4,31.2,41.6), (1.2,49.6,2,49.7), (17.2,49.6,18,49.7), (30,49.6,30.8,49.7), (-1.9,49.7,2,50.3), (17.2,49.7,30.8,50.3), (1.2,50.3,2,50.4), (17.2,50.3,18,50.4), (30,50.3,30.8,50.4), (1.2,51.6,2,51.7), (2.8,51.6,3.6,51.7), (17.2,51.6,18,51.7), (58.8,51.6,59.6,51.7), (71.6,51.6,72.4,51.7), (74.8,51.6,75.6,51.7), (81.2,51.6,82,51.7), (-1.9,51.7,2,52.3), (2.8,51.7,18,52.3), (58.8,51.7,82,52.3), (1.2,52.3,2,52.4), (2.8,52.3,3.6,52.4), (17.2,52.3,18,52.4), (58.8,52.3,59.6,52.4), (71.6,52.3,72.4,52.4), (74.8,52.3,75.6,52.4), (81.2,52.3,82,52.4), (1.2,53.6,2,54.4), (49.2,53.6,50,53.7), (70,53.6,70.8,53.7), (49.2,53.7,70.8,54.3), (49.2,54.3,50,54.4), (70,54.3,70.8,54.4), (62,55.6,62.8,55.7), (65.2,55.6,66,55.7), (62,55.7,66,56.3), (62,56.3,62.8,56.4), (65.2,56.3,66,56.4), (26.8,57.6,27.6,57.7), (54,57.6,54.8,57.7), (26.8,57.7,54.8,58.3), (26.8,58.3,27.6,58.4), (54,58.3,54.8,58.4), (55.2,60.4,60,61.6)])
counter.add(gdstk.Reference(fill, (39.2,21), rotation=pi, x_reflection=True))
counter.add(gdstk.Reference(fill, (39.2,21), rotation=pi))
counter.add(gdstk.Reference(fill, (37.6,21), rotation=pi, x_reflection=True))
counter.add(gdstk.Reference(fill, (37.6,21), rotation=pi))
counter.add(gdstk.Reference(dffsr, (0.8,21)))
counter.add(gdstk.Reference(dffsr, (0.8,21), x_reflection=True))
counter.add(gdstk.Reference(xnor2x1, (52,21), rotation=pi, x_reflection=True))
counter.add(gdstk.Reference(nor2x1, (60,21), rotation=pi, x_reflection=True))
counter.add(gdstk.Reference(bufx2, (45.6,21), rotation=pi))
counter.add(gdstk.Reference(invx1, (52,21)))
counter.add(gdstk.Reference(fill, (40.8,21), rotation=pi))
counter.add(gdstk.Reference(fill, (45.6,21), x_reflection=True))
counter.add(gdstk.Reference(fill, (40.8,21), rotation=pi, x_reflection=True))
counter.add(gdstk.Reference(fill, (47.2,21), x_reflection=True))
counter.add(gdstk.Reference(fill, (48.8,21), x_reflection=True))
counter.add(gdstk.Reference(nand3x1, (71.2,21)))
counter.add(gdstk.Reference(aoi21x1, (71.2,21), rotation=pi, x_reflection=True))
counter.add(gdstk.Reference(fill, (64.8,21), rotation=pi, x_reflection=True))
counter.add(gdstk.Reference(fill, (63.2,21), rotation=pi, x_reflection=True))
counter.add(gdstk.Reference(fill, (61.6,21), rotation=pi, x_reflection=True))
counter.add(gdstk.Reference(dffsr, (50.4,21), x_reflection=True))
counter.add(gdstk.Reference(fill, (84,21)))
counter.add(gdstk.Reference(fill, (82.4,21)))
counter.add(gdstk.Reference(bufx2, (77.6,21)))
counter.add(gdstk.Reference(fill, (12,61), x_reflection=True))
counter.add(gdstk.Reference(fill, (10.4,61), x_reflection=True))
counter.add(gdstk.Reference(fill, (8.8,61), x_reflection=True))
counter.add(gdstk.Reference(bufx2, (8.8,61), rotation=pi))
counter.add(gdstk.Reference(dffsr, (13.6,61), x_reflection=True))
counter.add(gdstk.Reference(invx2, (0.8,61), x_reflection=True))
counter.add(gdstk.Reference(fill, (63.2,61), x_reflection=True))
counter.add(gdstk.Reference(fill, (61.6,61), x_reflection=True))
counter.add(gdstk.Reference(fill, (60,61), x_reflection=True))
counter.add(gdstk.Reference(bufx2, (74.4,61), x_reflection=True))
counter.add(gdstk.Reference(bufx2, (69.6,61), x_reflection=True))
counter.add(gdstk.Reference(bufx2, (64.8,61), x_reflection=True))
counter.add(gdstk.Reference(xor2x1, (60,61), rotation=pi))
counter.add(gdstk.Reference(fill, (85.6,61), rotation=pi))
counter.add(gdstk.Reference(fill, (84,61), rotation=pi))
counter.add(gdstk.Reference(invx1, (82.4,61), rotation=pi))
counter.add(gdstk.Label('vdd', (-1.6,52), layer=62, texttype=0))
counter.add(gdstk.Label('gnd', (60.8,64), layer=51, texttype=0))
counter.add(gdstk.Label('clk', (32,64), layer=51, texttype=0))
counter.add(gdstk.Label('rst', (-1.6,50), layer=62, texttype=0))
counter.add(gdstk.Label('count[0]', (76.8,64), layer=51, texttype=0))
counter.add(gdstk.Label('count[1]', (72,64), layer=51, texttype=0))
counter.add(gdstk.Label('count[2]', (88,30), layer=62, texttype=0))
counter.add(gdstk.Label('count[3]', (43.2,-2), layer=51, texttype=0))

lib.write_gds('counter.gds')
